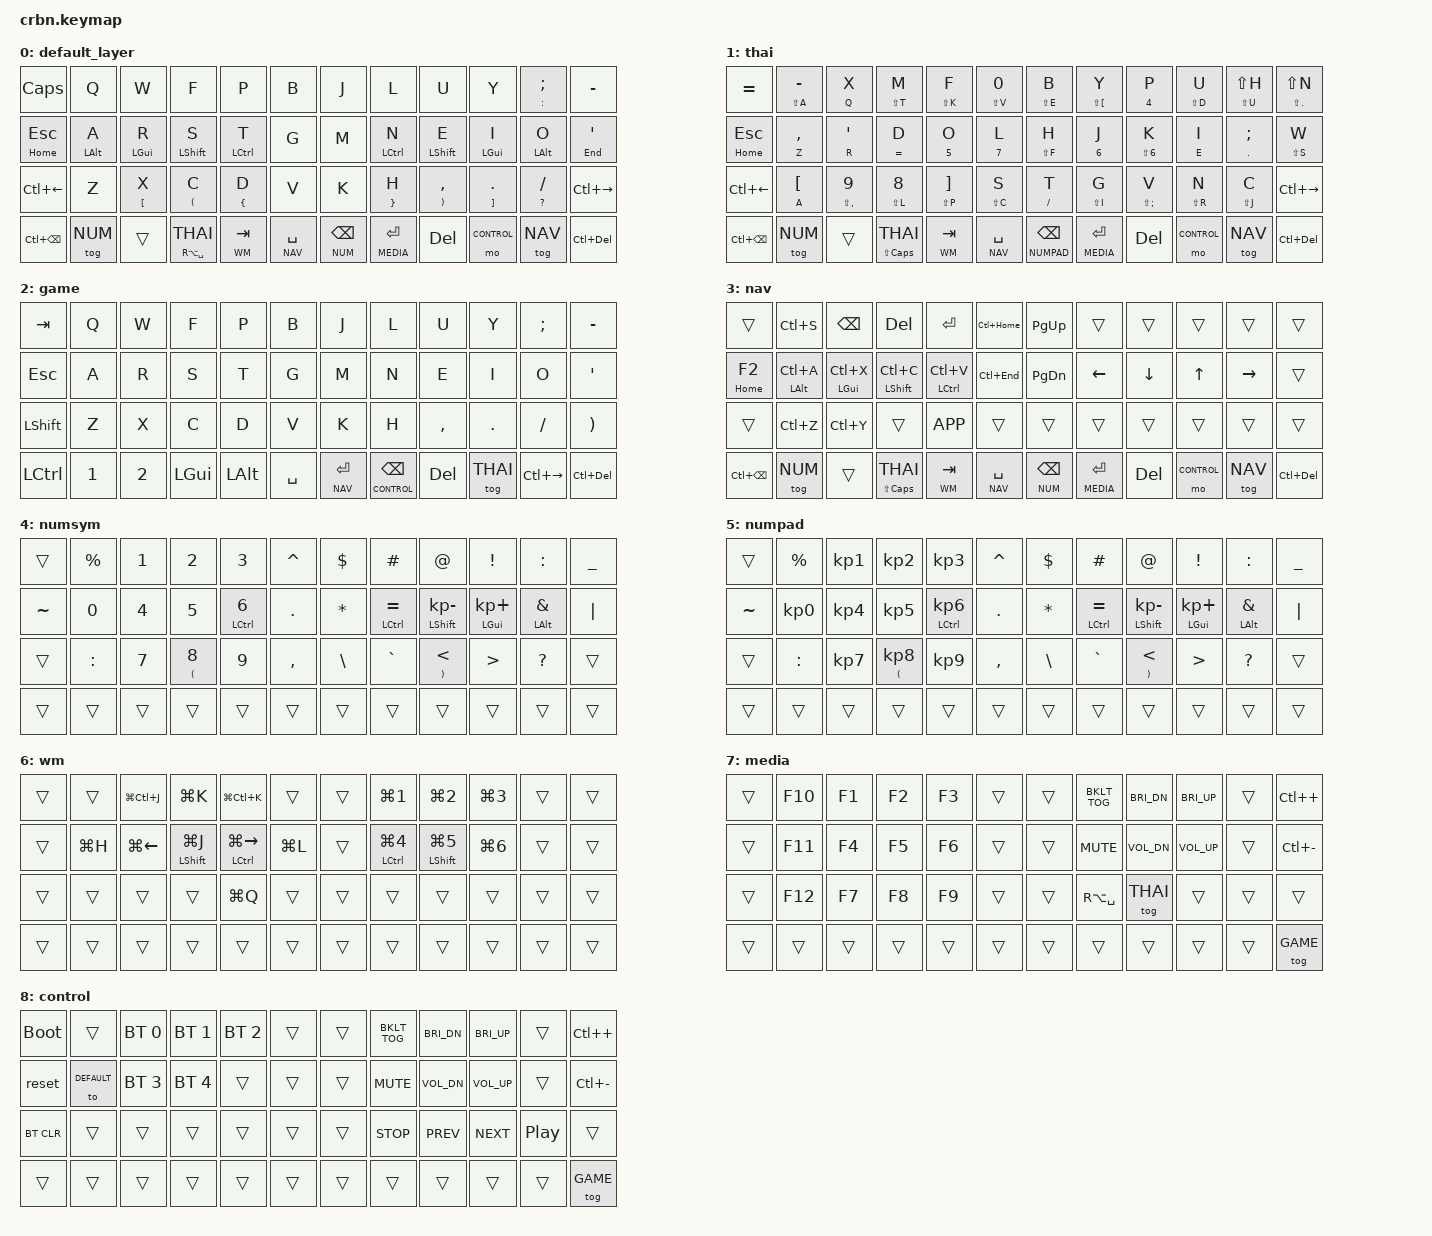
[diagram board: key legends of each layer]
/*
 * Copyright (c) 2020 The ZMK Contributors
 *
 * SPDX-License-Identifier: MIT
 * 
 * link to ZMK keycodes index: https://zmkfirmware.dev/docs/codes/
 */

#include <behaviors.dtsi>
#include <dt-bindings/zmk/keys.h>
#include <dt-bindings/zmk/bt.h>

// define layers
#define DEFAULT 0
#define THAI	1
#define GAME	2
#define NAV		3
#define NUM		4
#define NUMPAD	5
#define WM		6
#define MEDIA	7
#define CONTROL	8
// define frequent key combinations
#define COPY	LC(C)
#define PASTE	LC(V)
#define CUT		LC(X)
#define UNDO	LC(Z)
#define REDO	LC(Y)
#define S_ALL	LC(A)
#define SAVE	LC(S)
#define PG_T	LC(HOME)
#define PG_B	LC(END)

#define PW		LC(LEFT)
#define D_PW	LC(BSPC)
#define NW		LC(RIGHT)
#define D_NW	LC(DEL)

// thai dict
#define TH_LPAR LS(Z)
#define TH_RPAR LS(X)
#define TH_DQT	LS(W)

// Window Manager Shortcuts
#define WS_1	LG(N1)
#define WS_2	LG(N2)
#define WS_3	LG(N3)
#define WS_4	LG(N4)
#define WS_5	LG(N5)
#define WS_6	LG(N6)

/ {
	combos {
		#include "combos.dtsi" 
		 compatible = "zmk,combos"; 
		 combo_shift { 
		 	key-positions = <41 42>; 
		 	bindings = <&sk LSHFT>; 
		 	layers = < 0 >; 
     	}; 
		/* thai_tog { */
		/* 	key-positions = <31 32>; */
		/* 	bindings = < &macro_lang >; */
		/* 	layers = < DEFAULT THAI >; */
		/* }; */
	};

	behaviors {
		hm: homerow_mods {
			compatible = "zmk,behavior-hold-tap";
			label = "HOMEROW_MODS";
			#binding-cells = <2>;
			tapping_term_ms = <190>;
			flavor = "tap-preferred";
			bindings = <&kp>, <&kp>;
		};
		hm1: homerow_mods1 {
			compatible = "zmk,behavior-hold-tap";
			label = "HOMEROW_MODS";
			#binding-cells = <2>;
			tapping_term_ms = <100>;
			flavor = "hold-preferred";
			bindings = <&kp>, <&kp>;
		};
		hm2: homerow_mods2 {
			compatible = "zmk,behavior-hold-tap";
			label = "HOMEROW_MODS";
			#binding-cells = <2>;
			tapping_term_ms = <250>;
			flavor = "tap-preferred";
			bindings = <&kp>, <&kp>;
		};
		cht: custom_hold_tap {
			compatible = "zmk,behavior-hold-tap";
			label = "Tap par_hold brc";
			#binding-cells = <2>;
			tapping_term_ms = <150>;
			flavor = "tap-preferred";
			bindings = <&kp>, <&kp>;
		};
		cht1: custom_hold_tap1 {
			compatible = "zmk,behavior-hold-tap";
			label = "Tap par_hold brc";
			#binding-cells = <2>;
			tapping_term_ms = <210>;
			flavor = "balanced";
			bindings = <&kp>, <&kp>;
		};
		thai: custom_thai_tog {
			compatible = "zmk,behavior-hold-tap";
			label = "Tap tog thai_Hold osinput";
			#binding-cells = <2>;
			tapping_term_ms = <190>;
			flavor = "balanced";
			bindings = <&kp>, <&tog>;
		};

		// Mod-morph
		dot_excl: dot_excl {
		  compatible = "zmk,behavior-mod-morph";
		  label = "dot_excl";
		  #binding-cells = <0>;
		  bindings = <&kp DOT>, <&kp EXCL>;
		  mods = <(MOD_LSFT|MOD_RSFT)>;
		};
		com_qmark: com_qmark {
		  compatible = "zmk,behavior-mod-morph";
		  label = "com_qmark";
		  #binding-cells = <0>;
		  bindings = <&kp COMMA>, <&kp QMARK>;
		  mods = <(MOD_LSFT|MOD_RSFT)>;
		};
		slash_at: slash_at {
		  compatible = "zmk,behavior-mod-morph";
		  label = "slash_at";
		  #binding-cells = <0>;
		  bindings = <&kp SLASH>, <&kp AT>;
		  mods = <(MOD_LSFT|MOD_RSFT)>;
		};

		// Macros
		macro_lang: macro_lang {
			compatible = "zmk,behavior-macro";
			label = "macro_lang";
			#binding-cells = <0>;
			bindings = <&kp RA(SPACE)>, <&tog THAI>;
		};
		macro_cutline: macro_cutline {
			compatible = "zmk,behavior-macro";
			label = "macro_cutline";
			#binding-cells = <0>;
			bindings = <&kp LS(HOME)>, <&kp CUT>;
		};
		macro_cpyline: macro_cpyline {
			compatible = "zmk,behavior-macro";
			label = "macro_cpyline";
			#binding-cells = <0>;
			bindings = <&kp LS(HOME)>, <&kp LC(C)>, <&kp END>;
		};
		} 
		
	keymap {
		compatible = "zmk,keymap";

	// [0] DEFAULT = = = = = = = = = = = = = = = = = = = = = = = = = = = = = = = = = = = = = 
		default_layer {

				// ===================================================================================================================+
				// |  CAPS  |   Q    |   W   |    F   |    P   |    B    ||     J   |     L    |    U    |    Y    |    ; :  |   -    |
				// |ESC/HOME|   A    |   R   |    S   |    T   |    G    ||     M   |     N    |    E    |    I    |    O    | '/END  |
				// |    PW  |   Z    |   X,[ |   C,(  |   D {  |    V    ||     K   |    H }   |   , )   |    . ]  |    /    |   NW   |
				// |------------------------------------------------------------------------------------------------------------------|
		 		// |  D_PW  | tog NUM|  ____ | &thai |TAB/_WM  |SPC/_NAV || BSPC/_NUM| RET/_CONTR|  DEL  |tog THAI | tog NAV |  D_NW  |
				// ===================================================================================================================+
			bindings = <
				&kp CAPS		&kp	Q		 &kp W 		  &kp F 		  		&kp P 	   	 &kp B  				&kp J		&kp L			 &kp U     		&kp Y    	 &cht COLON SEMI	&kp MINUS
				&cht1 HOME ESC  &hm2 LALT A  &hm LGUI R   &hm1 LSHFT S 			&hm LCTRL T  &kp G  				&kp M  		&hm LCTRL N 	 &hm1 LSHFT E   &hm2 LGUI I  &hm LALT O   		&cht1 END SQT
				&kp PW    		&kp Z		 &cht1 LBKT X  &cht1 LPAR C  		&cht1 LBRC D  &kp V  				&kp K      	&cht1 RBRC H		 &cht1 RPAR COMMA  &cht1 RBKT DOT &cht QMARK FSLH &kp NW
				&kp D_PW 		&tog NUM	 &trans  &thai RA(SPACE) THAI  &lt WM TAB &lt NAV SPACE			&lt NUM BSPC &lt MEDIA RET &kp DEL  &mo CONTROL &tog NAV 			&kp D_NW
			>;
		};

	// [1] THAI = = = = = = = = = = = = = = = = = = = = = = = = = = = = = = = = = = = = = = = 
	thai {
				// ===================================================================================================================+
				// |  CAPS  |  ข/ฤ   |  ป/ๆ   |   ด/ธ  |   ท/ษ  |   จ/ฮ  ||    ิ/ฎ  |   ั/ฐ    |   ย/ภ   |   ี/ฏ   |   ็/ ๊  |   ์/ฬ  |
				// |   ESC  |  ม/ผ   |  ง/พ  |   ก/ช  |   น/ถ  |   ส/ึ   ||   ้/โ   |   ่ / ุ   |   า/ ู   |   ร/ใ   |   ว/ ำ  |   ไ/ฆ  |
				// |    PW  |  บ/ฟ   |  ต/ฒ  |   ค/ศ  |   ล/ญ  |   ห/ฉ  ||   ะ/ฝ   |  เ / ณ   |   อ/ซ   |   ื /ฑ |    แ/ ๋  |   NW   |
				// |------------------------------------------------------------------------------------------------------------------|
		 		// |  D_PW  | tog NUM|  ____ | &thai |TAB/_WM  |SPC/_NAV || BSPC/_NUM| RET/_CONTR|  DEL  |tog THAI | tog NAV |  D_NW  |
				// ===================================================================================================================+
			bindings = <
				&kp EQUAL	   &cht LS(A) MINUS &cht Q X          &cht LS(T) M   &cht LS(K) F    &cht LS(V) N0       &cht LS(E) B    &cht LS(LBKT) Y &cht N4 P       &cht LS(D) U &cht LS(U) LS(H) &cht1 LS(DOT) LS(N)
				&cht1 HOME ESC &cht Z COMMA     &cht R SQT        &cht EQUAL D   &cht N5 O       &cht N7 L           &cht LS(F) H    &cht N6 J       &cht LS(N6) K   &cht E I     &cht DOT SEMI    &cht LS(S) W 
				&kp PW         &cht A LBKT      &cht LS(COMMA) N9 &cht LS(L) N8  &cht LS(P) RBKT &cht LS(C) S		 &cht FSLH T     &cht LS(I) G    &cht LS(SEMI) V &cht LS(R) N &cht LS(J) C     &kp NW
				&kp D_PW 	   &tog NUM	        &trans	    &thai LS(CAPS) THAI  &lt WM TAB      &lt NAV SPACE	     &lt NUMPAD BSPC &lt MEDIA RET &kp DEL         &mo CONTROL &tog NAV      &kp D_NW
			>;
	};

	// [2] GAME  = = = = = = = = = = = = = = = = = = = = = = = = = = = = = = = = = = = = = = = = 
	game {
			bindings = <
				&kp TAB	  &kp Q &kp W &kp F &kp P &kp B  				&kp J   &kp L  &kp U  &kp Y  &kp SEMI	&kp MINUS
				&kp ESC   &kp A &kp R &kp S &kp T &kp G  				&kp M  	&kp N  &kp E  &kp I  &kp O		&kp SQT
				&kp LSHFT &kp Z &kp X &kp C &kp D &kp V  				&kp K   &kp H  &kp COMMA &kp DOT  &kp FSLH &kp RPAR
				&kp LCTRL &kp N1 &kp N2 &kp LGUI &kp LALT  &kp SPACE 	&lt NAV RET  &lt CONTROL BSPC &kp DEL   &tog THAI &kp LC(RIGHT) &kp D_NW
			>;
	};

	// [3] NAVIGATION = = = = = = = = = = = = = = = = = = = = = = = = = = = = = = = = = = = = = = 
    nav {
			// ---------------------------------------------------------------------------------------------------+
			// |  ____ |  SAVE  | BSPC  |  DEL  |  RET  |  PG_T || PG_UP |  ____ |  ____ |  ____ |  ____ |  ____  |
			// |RENAM/HOME|S_ALL|  CUT  |  COPY | PASTE |  PG_B || PG_DN |  LEFT |  DOWN |   UP  | RIGHT |  ____  |
			// |  ____ |  UNDO  |  REDO |  ____ |  K_APP|  ____ ||  ____ |  ____ |  ____ |  ____ |  ____ |  ____  |
			// |--------------------------------------------------------------------------------------------------|
			// |  ____ |  ____  |  ____ |  ____ |  ____ |  ____ ||  ____ |  ____ |  ____ |  ____ |  ____ |  ____  |
			// ===================================================================================================+
			bindings = <
				&trans		 &kp SAVE	&kp BSPC  	 &kp DEL 			&kp RET  		&kp PG_T					&kp PG_UP	&trans	 &trans		&trans	&trans		&trans
				&cht HOME F2 &hm LALT S_ALL	&hm LGUI CUT &hm1 LSHFT COPY	&hm LCTRL PASTE	&kp PG_B					&kp PG_DN	&kp LEFT &kp DOWN	&kp UP	&kp RIGHT	&trans
				&trans 		 &kp UNDO	&kp REDO  	 &trans				&kp K_APP		&trans						&trans		&trans	 &trans		&trans	&trans		&trans
				&kp D_PW 		&tog NUM	 &trans  &thai LS(CAPS) THAI  &lt WM TAB &lt NAV SPACE			&lt NUM BSPC &lt MEDIA RET &kp DEL  &mo CONTROL &tog NAV 			&kp D_NW
    		>;
    };

	// [4] NUMSYM = = = = = = = = = = = = = = = = = = = = = = = = = = = = = = = = = = = = = = 
    numsym {
			// --------------------------------------------------------------------------------------------------+
			// |  ____ |   %   |   1   |   2   |   3   |   ^   ||   $   |   #   |   @   |   !   |   :   |   UND  |
			// |   ~   |   0   |   4   |   5   |   6   |   .   ||   *   |   =   |   -   |   +   |   &   |    |   |
			// |  ____ |   :   |   7   |  8(   |   9   |   ,   ||   \   |   `   |   <)  |   >   |   ?   |  ____  |
			// |-------------------------------------------------------------------------------------------------|
			// |  ____ |  ____ |  ____ |  ____ |  ____ |  ____ ||  ____ |  ____ |  ____ |  ____ |  ____ |  ____  |
			// ==================================================================================================+
			bindings = <
				&trans    &kp PRCNT	   &kp N1  &kp N2	 &kp N3  &kp CARET							&kp DLLR	&kp HASH	&kp AT		&kp EXCL	&kp COLON	&kp UNDER
				&kp TILDE &kp N0	   &kp N4  &kp N5	 &hm LCTRL N6 &kp DOT	     				&kp STAR	&hm LCTRL EQUAL	&hm LSHFT KP_MINUS	&hm LGUI KP_PLUS &hm LALT AMPS	&kp PIPE
				&trans    &kp COLON &kp N7  &cht LPAR N8 &kp N9	&kp COMMA     						&kp BSLH	&kp GRAVE	&cht RPAR LT		&kp GT	&kp QMARK	&trans
				&trans &trans 	&trans 	 &trans	&trans	&trans 										&trans 	&trans 	&trans 	&trans 	&trans 	&trans
			>;
    }; 

	// [5] NUMPAD = = = = = = = = = = = = = = = = = = = = = = = = = = = = = = = = = = = = = = 
    numpad {
			// --------------------------------------------------------------------------------------------------+
			// |  ____ |   %   |   1   |   2   |   3   |   ^   ||   $   |   #   |   @   |   !   |   :   |   UND  |
			// |   ~   |   0   |   4   |   5   |   6   |   .   ||   *   |   =   |   -   |   +   |   &   |    |   |
			// |  ____ |   :   |   7   |  8(   |   9   |   ,   ||   \   |   `   |   <)  |   >   |   ?   |  ____  |
			// |-------------------------------------------------------------------------------------------------|
			// |  ____ |  ____ |  ____ |  ____ |  ____ |  ____ ||  ____ |  ____ |  ____ |  ____ |  ____ |  ____  |
			// ==================================================================================================+
			bindings = <
				&trans    &kp PRCNT	   &kp KP_N1  &kp KP_N2	 &kp KP_N3  &kp CARET							&kp DLLR	&kp HASH	&kp AT		&kp EXCL	&kp COLON	&kp UNDER
				&kp TILDE &kp KP_N0	   &kp KP_N4  &kp KP_N5	 &hm LCTRL KP_N6 &kp DOT	     				&kp STAR	&hm LCTRL EQUAL	&hm LSHFT KP_MINUS	&hm LGUI KP_PLUS &hm LALT AMPS	&kp PIPE
				&trans    &kp COLON &kp KP_N7  &cht LPAR KP_N8 &kp KP_N9	&kp COMMA     					&kp BSLH	&kp GRAVE	&cht RPAR LT	&kp GT	&kp QMARK	&trans
				&trans &trans 	&trans 	 &trans	&trans	&trans 												&trans 	&trans 	&trans 	&trans 	&trans 	&trans
			>;
    }; 

	// [6] WM = = = = = = = = = = = = = = = = = = = = = = = = = = = = = = = = = = = = = = 
	wm {
			// TODO:
			//   - list all window manager shortcut keys && assign place
			// --------------------------------------------------------------------------------------------------+
			// |  ____ |  ____ |scrn_l |clnt_up|scrn_r |  ____ ||  ____ | WS_1  | WS_2  | WS_3  | ____  |  ____  |
			// |  ____ |width+ |  ws_l |clnt_dn| ws_r  |width- ||  ____ | WS_4  | WS_5  | WS_6  | ____  |  ____  |
			// |  ____ |  ____ |  ____ |  ____ |  ____ |  ____ ||  ____ | ____  | ____  | ____  | ____  |  ____  |
			// |-------------------------------------------------------------------------------------------------|
			// |  ____ |  ____ |  ____ |  ____ |  ____ |  ____ ||  ____ |  ____ |  ____ |  ____ |  ____ |  ____  |
			// ==================================================================================================+			
			bindings = <
				&trans	&trans		&kp LG(LC(J)) &kp LG(K) &kp LG(LC(K))	  &trans				&trans	&kp WS_1 &kp WS_2 &kp WS_3 &trans &trans
				&trans	&kp LG(H) &kp LG(LEFT) &hm LSHFT LG(J)	&hm LCTRL LG(RIGHT) &kp LG(L)		&trans	&hm LCTRL WS_4 &hm LSHFT WS_5 &kp WS_6 &trans &trans
				&trans	&trans      &trans      &trans		&kp LG(Q)	&trans						&trans	&trans 	&trans  &trans  &trans	&trans
				&trans	&trans		&trans		&trans		&trans		&trans						&trans	&trans	&trans	&trans	&trans	&trans

			>;
	};

	// [7] CONTROL = = = = = = = = = = = = = = = = = = = = = = = = = = = = = = = = = = = = = 
	media {
			// TODO:
			//   
			// -------------------------------------------------------------------------------------------+
			// | ____ | F10  |  F1  |  F2  |  F3  | ____ || ____ | B_TOG | B_DN  | B_UP  | ____ |ZOOMIN|
			// | ____ | F11  |  F4  |  F5  |  F6  | ____ || ____ | v_MUTE| V_DN  | v_UP  | ____ |ZOOMOUT|
			// | ____ | F12  |  F7  |  F8  |  F9  | ____ || ____ |lang_sw/|_THAI |  ____ | ____ | ____ |
			// |---------------------------------------------------------------------------------------|
			// | ____ | ____ | ____ | ____ | ____ | ____ || ____ | _____ | _____ | _____ | ____ | tog 4|
			// ========================================================================================+	
		bindings = <
			&trans  &kp F10  &kp F1  &kp F2  &kp F3  &trans 		&trans &kp C_BKLT_TOG	&kp C_BRI_DN	&kp C_BRI_UP	&trans 		&kp LC(PLUS)
			&trans 	&kp F11  &kp F4  &kp F5  &kp F6  &trans 		&trans &kp C_MUTE		&kp C_VOL_DN	&kp C_VOL_UP	&trans 		&kp LC(MINUS)
			&trans 	&kp F12  &kp F7  &kp F8  &kp F9  &trans 		&trans &kp RA(SPACE)   &tog THAI		&trans			&trans 	&trans
			&trans 	&trans 	 &trans  &trans  &trans  &trans 		&trans &trans &trans &trans &trans &tog GAME
		>; 
	};
	// [8] CONTROL = = = = = = = = = = = = = = = = = = = = = = = = = = = = = = = = = = = = = 
	control {
			// TODO:
			//   - delet media keys, use this for only bluetooth
			// ----------------------------------------------------------------------------------------+
			// |BOOTLD| ____ | prof1| prof2| prof3| ____ || ____ | B_TOG | B_DN  | B_UP  | ____ |ZOOMIN|
			// |RESET | ____ | prof4| prof5| ____ | ____ || ____ | v_MUTE| V_DN  | v_UP  | ____ |ZOOMOUT|
			// |BT_CLR| ____ | ____ | ____ | ____ | ____ || ____ | M_STOP| M_PRV | M_NXT | M_PP | ____ |
			// |---------------------------------------------------------------------------------------|
			// | ____ | ____ | ____ | ____ | ____ | ____ || ____ | _____ | _____ | _____ | ____ | tog 4|
			// ========================================================================================+	
		bindings = <
			&bootloader &trans 	&bt BT_SEL 0 &bt BT_SEL 1 &bt BT_SEL 2 &trans		&trans &kp C_BKLT_TOG	&kp C_BRI_DN	&kp C_BRI_UP	&trans 		&kp LC(PLUS)
			&reset 	&to DEFAULT &bt BT_SEL 3 &bt BT_SEL 4 &trans 	   &trans 		&trans &kp C_MUTE		&kp C_VOL_DN	&kp C_VOL_UP	&trans 		&kp LC(MINUS)
			&bt BT_CLR	&trans 	&trans 		 &trans 	  &trans 	   &trans 		&trans &kp C_STOP		&kp C_PREV		&kp C_NEXT		&kp C_PP 	&trans
			&trans 		&trans 	&trans 		 &trans 	  &trans       &trans 		&trans &trans &trans &trans &trans &tog GAME
		>; 
	};

  };
};

/*
TODO:
	- move bluetooth to a separate layer (avoid wrong press from frequent layer switching)
	- move F-keys to _CONTR layer on left hand
	- add OSinput switch for Linux
	- assign sticky key for bluetooth and OSinput/lang switch on bottom row
*/
